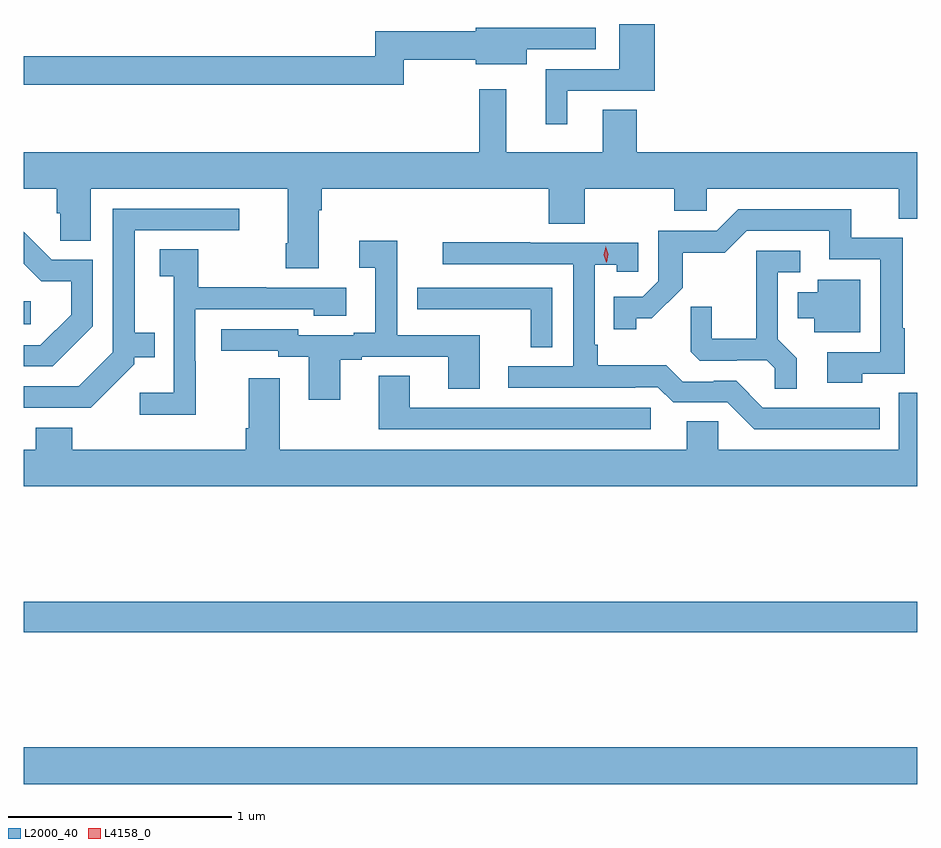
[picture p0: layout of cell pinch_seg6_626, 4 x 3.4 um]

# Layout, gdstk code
import gdstk
lib = gdstk.Library(unit=1e-6, precision=1e-09)
def R(c, l, rs):  # rectangles x0, y0, x1, y1
    for r in rs: c.add(gdstk.rectangle(r[:2], r[2:], *l))
def P(c, l, *ps):  # polygons
    for p in ps: c.add(gdstk.Polygon(p, *l))
L2000_40 = (2000, 40)
L4158_0 = (4158, 0)

pinch_seg6_626 = lib.new_cell('pinch_seg6_626')
R(pinch_seg6_626, L2000_40, [(432.18,926.024,436.18,926.188), (432.18,926.704,436.18,926.84), (432.18,928.083,432.211,928.186)])
P(pinch_seg6_626, L2000_40, [(434.614,929.127),(435.005,929.127),(435.005,929.426),(434.846,929.426),(434.846,929.223),(434.516,929.223),(434.516,928.977),(434.614,928.977)],
  [(433.882,929.265),(434.204,929.265),(434.204,929.246),(434.431,929.246),(434.431,929.313),(434.74,929.313),(434.74,929.409),(434.427,929.409),(434.427,929.41),(434.204,929.41),(434.204,929.393),(433.753,929.393),(433.753,929.282),(432.18,929.282),(432.18,929.154),(433.882,929.154)],
  [(434.341,929.134),(434.22,929.134),(434.22,928.852),(432.18,928.852),(432.18,928.688),(432.329,928.688),(432.329,928.578),(432.343,928.578),(432.343,928.456),(432.481,928.456),(432.481,928.688),(433.361,928.688),(433.361,928.444),(433.354,928.444),(433.354,928.332),(433.501,928.332),(433.501,928.592),(433.514,928.592),(433.514,928.688),(434.531,928.688),(434.531,928.531),(434.691,928.531),(434.691,928.688),(435.091,928.688),(435.091,928.59),(435.237,928.59),(435.237,928.688),(436.097,928.688),(436.097,928.555),(436.18,928.555),(436.18,928.852),(434.924,928.852),(434.924,929.042),(434.771,929.042),(434.771,928.852),(434.341,928.852)],
  [(432.675,927.903),(432.675,927.935),(432.767,927.935),(432.767,928.045),(432.676,928.045),(432.676,928.503),(433.144,928.503),(433.144,928.599),(432.579,928.599),(432.579,927.957),(432.426,927.804),(432.18,927.804),(432.18,927.708),(432.48,927.708)],
  [(435.933,927.861),(436.123,927.861),(436.123,928.064),(436.115,928.064),(436.115,928.47),(435.884,928.47),(435.884,928.596),(435.378,928.596),(435.282,928.5),(435.021,928.5),(435.021,928.275),(434.952,928.206),(434.821,928.206),(434.821,928.059),(434.922,928.059),(434.922,928.109),(434.992,928.109),(435.13,928.246),(435.13,928.402),(435.319,928.402),(435.417,928.5),(435.785,928.5),(435.785,928.374),(436.014,928.374),(436.014,927.957),(435.777,927.957),(435.777,927.821),(435.933,927.821)],
  [(432.489,928.073),(432.489,928.371),(432.306,928.371),(432.18,928.497),(432.18,928.353),(432.259,928.274),(432.392,928.274),(432.392,928.124),(432.255,927.987),(432.18,927.987),(432.18,927.894),(432.31,927.894)],
  [(433.597,927.924),(433.693,927.924),(433.693,927.936),(434.081,927.936),(434.081,927.793),(434.221,927.793),(434.221,928.032),(433.851,928.032),(433.851,928.456),(433.683,928.456),(433.683,928.336),(433.754,928.336),(433.754,928.045),(433.658,928.045),(433.658,928.032),(433.41,928.032),(433.41,928.059),(433.065,928.059),(433.065,927.963),(433.32,927.963),(433.32,927.936),(433.457,927.936),(433.457,927.744),(433.597,927.744)],
  [(436.012,927.708),(435.489,927.708),(435.369,927.828),(435.268,927.828),(435.268,927.825),(435.129,927.825),(435.056,927.898),(434.749,927.898),(434.749,927.991),(434.736,927.991),(434.736,928.349),(434.835,928.349),(434.835,928.317),(434.931,928.317),(434.931,928.446),(434.447,928.446),(434.447,928.449),(434.055,928.449),(434.055,928.35),(434.64,928.35),(434.64,927.894),(434.349,927.894),(434.349,927.798),(434.918,927.798),(434.918,927.801),(435.018,927.801),(435.087,927.732),(435.33,927.732),(435.45,927.612),(436.012,927.612)],
  [(432.951,927.917),(432.948,927.917),(432.948,928.149),(433.479,928.149),(433.479,928.121),(433.624,928.121),(433.624,928.245),(433.265,928.245),(433.265,928.248),(432.961,928.248),(432.961,928.418),(432.789,928.418),(432.789,928.297),(432.852,928.297),(432.852,927.775),(432.699,927.775),(432.699,927.677),(432.951,927.677)],
  [(435.641,927.929),(435.555,928.015),(435.555,928.314),(435.655,928.314),(435.655,928.41),(435.458,928.41),(435.458,928.018),(435.26,928.018),(435.26,928.161),(435.166,928.161),(435.166,927.959),(435.207,927.918),(435.372,927.918),(435.372,927.921),(435.506,927.921),(435.543,927.884),(435.543,927.793),(435.641,927.793)],
  [(435.925,928.282),(435.734,928.282),(435.734,928.225),(435.644,928.225),(435.644,928.109),(435.719,928.109),(435.719,928.046),(435.925,928.046)],
  [(434.547,928.245),(433.941,928.245),(433.941,928.15),(434.053,928.15),(434.053,928.149),(434.449,928.149),(434.449,927.979),(434.547,927.979)],
  [(434.986,927.708),(433.909,927.708),(433.909,927.851),(433.769,927.851),(433.769,927.612),(434.986,927.612)],
  [(432.233,927.619),(432.233,927.52),(432.18,927.52),(432.18,927.356),(436.18,927.356),(436.18,927.776),(436.097,927.776),(436.097,927.52),(435.288,927.52),(435.288,927.647),(435.149,927.647),(435.149,927.52),(433.327,927.52),(433.327,927.841),(433.187,927.841),(433.187,927.616),(433.175,927.616),(433.175,927.52),(432.398,927.52),(432.398,927.619)])
P(pinch_seg6_626, L4158_0, [(434.788,928.359),(434.788,928.359),(434.777,928.394),(434.786,928.43),(434.786,928.431),(434.786,928.43),(434.797,928.395),(434.789,928.359)])

lib.write_gds('pinch_seg6_626.gds')
